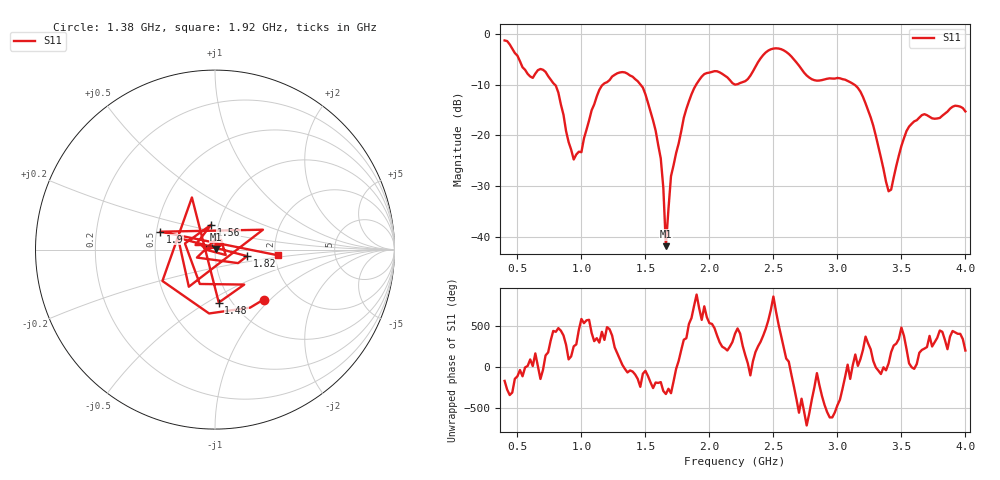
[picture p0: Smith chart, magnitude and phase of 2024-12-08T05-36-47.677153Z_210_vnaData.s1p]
!Created with skrf (http://scikit-rf.org).
# Hz S RI R 50.0
!freq ReS11 ImS11
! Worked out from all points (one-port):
!   181 points, 400 MHz to 4 GHz, reference 50 ohm
!   lowest |S11| = -41.8 dB at 1.66 GHz (marker M1), VSWR 1.02, Z = 50.7 + j0.363 ohm
!   |S11| at or under -10 dB: 791.3 MHz to 1.169 GHz (377.6 MHz wide, 38.5 % of centre); 1.461 GHz to 1.897 GHz (435.8 MHz wide, 26 % of centre); 3.131 GHz to end of sweep (the widest 3 of 4)
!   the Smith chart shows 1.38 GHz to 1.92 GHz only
!   S11 on the Smith chart (normalised r, x): 1.38 GHz: 1.39, -0.91; 1.48 GHz: 0.87, -0.56; 1.56 GHz: 0.92, +0.26; 1.82 GHz: 1.43, -0.11; 1.9 GHz: 0.52, +0.12; 1.92 GHz: 2.06, -0.15
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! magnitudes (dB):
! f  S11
! 400 MHz  -1.3
! 600 MHz  -8.4
! 720 MHz  -7.5
! 860 MHz  -15.9
! 940 MHz  -24.7
! 1 GHz  -23.3
! 1.14 GHz  -11.0
! 1.3 GHz  -7.6
! 1.38 GHz  -8.2
! 1.48 GHz  -10.6
! 1.56 GHz  -17.1
! 1.62 GHz  -24.5
! 1.64 GHz  -30.3
! 1.66 GHz  -41.8
! 1.7 GHz  -28.0
! 1.76 GHz  -21.6
! 1.82 GHz  -14.8
! 1.9 GHz  -9.9
! 1.92 GHz  -9.1
! 2.2 GHz  -10.0
! 2.48 GHz  -3.1
! 2.66 GHz  -5.0
! 2.8 GHz  -9.0
! 3.1 GHz  -9.5
! 3.26 GHz  -16.4
! 3.4 GHz  -31.0
! 3.56 GHz  -18.3
! 4 GHz  -15.3
